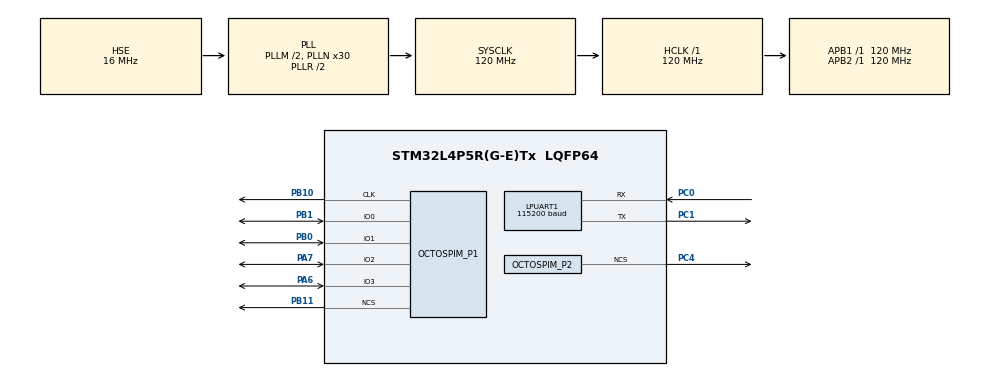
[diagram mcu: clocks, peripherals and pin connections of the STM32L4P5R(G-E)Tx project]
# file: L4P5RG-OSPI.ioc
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LPUART1.BaudRate=115200
LPUART1.WordLength=UART_WORDLENGTH_8B
Mcu.Family=STM32L4
Mcu.Name=STM32L4P5R(G-E)Tx
Mcu.Package=LQFP64
NVIC.PriorityGroup=NVIC_PRIORITYGROUP_4
OCTOSPI1.ChipSelectHighTime=2
OCTOSPI1.ClockPrescaler=2
OCTOSPI1.DeviceSize=24
OCTOSPI2.ChipSelectHighTime=2
OCTOSPI2.ClockPrescaler=2
OCTOSPI2.DeviceSize=23
PA13\ (JTMS/SWDIO).Mode=Serial_Wire
PA13\ (JTMS/SWDIO).Signal=SYS_JTMS-SWDIO
PA14\ (JTCK/SWCLK).Mode=Serial_Wire
PA14\ (JTCK/SWCLK).Signal=SYS_JTCK-SWCLK
PA6.Mode=OCTOSPI1_IOL_Port1L_30_MX
PA6.Signal=OCTOSPIM_P1_IO3
PA7.Mode=OCTOSPI1_IOL_Port1L_30_MX
PA7.Signal=OCTOSPIM_P1_IO2
PB0.Mode=OCTOSPI1_IOL_Port1L_30_MX
PB0.Signal=OCTOSPIM_P1_IO1
PB1.Mode=OCTOSPI1_IOL_Port1L_30_MX
PB1.Signal=OCTOSPIM_P1_IO0
PB10.Mode=O1_P1_CLK_MX
PB10.Signal=OCTOSPIM_P1_CLK
PB11.Mode=OCTOSPI1_Port1_NCS
PB11.Signal=OCTOSPIM_P1_NCS
PC0.Mode=Asynchronous
PC0.Signal=LPUART1_RX
PC1.Mode=Asynchronous
PC1.Signal=LPUART1_TX
PC14-OSC32_IN\ (PC14).Mode=LSE-External-Oscillator
PC14-OSC32_IN\ (PC14).Signal=RCC_OSC32_IN
PC15-OSC32_OUT\ (PC15).Mode=LSE-External-Oscillator
PC15-OSC32_OUT\ (PC15).Signal=RCC_OSC32_OUT
PC4.Mode=OCTOSPI2_Port2_NCS
PC4.Signal=OCTOSPIM_P2_NCS
PH0-OSC_IN\ (PH0).Mode=HSE-External-Oscillator
PH0-OSC_IN\ (PH0).Signal=RCC_OSC_IN
PH1-OSC_OUT\ (PH1).Mode=HSE-External-Oscillator
PH1-OSC_OUT\ (PH1).Signal=RCC_OSC_OUT
ProjectManager.HeapSize=0x200
ProjectManager.StackSize=0x400
ProjectManager.TargetToolchain=STM32CubeIDE
RCC.ADCFreq_Value=64000000
RCC.AHBFreq_Value=120000000
RCC.APB1Freq_Value=120000000
RCC.APB1TimFreq_Value=120000000
RCC.APB2Freq_Value=120000000
RCC.APB2TimFreq_Value=120000000
RCC.CortexFreq_Value=120000000
RCC.HCLKFreq_Value=120000000
RCC.HSE_VALUE=16000000
RCC.HSI48_VALUE=48000000
RCC.HSI_VALUE=16000000
RCC.MSI_VALUE=4000000
RCC.PLLM1=2
RCC.PLLN=30
RCC.PLLSourceVirtual=RCC_PLLSOURCE_HSE
RCC.SYSCLKFreq_VALUE=120000000
RCC.SYSCLKSource=RCC_SYSCLKSOURCE_PLLCLK
RCC.USBFreq_Value=64000000
RCC.VCOOutputFreq_Value=240000000
VP_OCTOSPI1_VS_quad_mx.Mode=quad_mode_mx
VP_OCTOSPI2_VS_ospi2_mx_p1_30.Mode=OCTOSPI2_IOL_Port1L_30_MX
VP_OCTOSPI2_VS_ospi2_mx_p1_clk.Mode=O2_P1_CLK_MX
VP_OCTOSPI2_VS_quad_mx.Mode=quad_mode_mx
board=custom

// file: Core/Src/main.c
/* USER CODE BEGIN Header */
/**
  ******************************************************************************
  * @file           : main.c
  * @brief          : Main program body
  ******************************************************************************
  * @attention
  *
  * Copyright (c) 2024 STMicroelectronics.
  * All rights reserved.
  *
  * This software is licensed under terms that can be found in the LICENSE file
  * in the root directory of this software component.
  * If no LICENSE file comes with this software, it is provided AS-IS.
  *
  ******************************************************************************
  */
/* USER CODE END Header */
#include "main.h"

/* USER CODE BEGIN Includes */
#include <stdio.h>
/* USER CODE END Includes */

UART_HandleTypeDef hlpuart1;

OSPI_HandleTypeDef hospi1;
OSPI_HandleTypeDef hospi2;

void SystemClock_Config(void);
static void MX_GPIO_Init(void);
static void MX_OCTOSPI1_Init(void);
static void MX_OCTOSPI2_Init(void);
static void MX_LPUART1_UART_Init(void);

int main(void)
{

  /* MCU Configuration--------------------------------------------------------*/

  /* Reset of all peripherals, Initializes the Flash interface and the Systick. */
  HAL_Init();

  /* Configure the system clock */
  SystemClock_Config();

  /* Initialize all configured peripherals */
  MX_GPIO_Init();
  MX_OCTOSPI1_Init();
  MX_OCTOSPI2_Init();
  MX_LPUART1_UART_Init();
  /* USER CODE BEGIN 2 */

  OSPI_RegularCmdTypeDef sCommand;
  HAL_StatusTypeDef ret1;
  HAL_StatusTypeDef ret2;

  /* reset w25q128 ----------------------------------------------------- */
  sCommand.OperationType = HAL_OSPI_OPTYPE_COMMON_CFG;
  sCommand.FlashId = HAL_OSPI_FLASH_ID_1;
  sCommand.Instruction = 0X66;
  sCommand.InstructionMode = HAL_OSPI_INSTRUCTION_1_LINE;
  sCommand.InstructionSize = HAL_OSPI_INSTRUCTION_8_BITS;
  sCommand.InstructionDtrMode = HAL_OSPI_INSTRUCTION_DTR_DISABLE;
  sCommand.Address = 0x00;
  sCommand.AddressMode = HAL_OSPI_ADDRESS_1_LINE;
  sCommand.AddressSize = HAL_OSPI_ADDRESS_24_BITS;
  sCommand.AlternateBytes = 0;
  sCommand.AlternateBytesMode = HAL_OSPI_ALTERNATE_BYTES_NONE;
  sCommand.AlternateBytesSize = HAL_OSPI_ALTERNATE_BYTES_8_BITS;
  sCommand.DummyCycles = 0;
  sCommand.DataMode = HAL_OSPI_DATA_NONE;
  sCommand.NbData = 0;
  sCommand.SIOOMode = HAL_OSPI_SIOO_INST_EVERY_CMD;

  ret1 = HAL_OSPI_Command(&hospi1, &sCommand, HAL_OSPI_TIMEOUT_DEFAULT_VALUE);
  if (ret1 != HAL_OK)
  {
      printf("flash send command reset enable, failed:%d\r\n", ret1);
  }

  sCommand.Instruction = 0X99;
  ret2 = HAL_OSPI_Command(&hospi1, &sCommand, HAL_OSPI_TIMEOUT_DEFAULT_VALUE);
  if (ret2 != HAL_OK)
  {
      printf("flash send command reset, failed:%d\r\n", ret2);
  }

  printf("flash reset finished, ret1:%d,ret2:%d\r\n", ret1, ret2);

  /* reset aps6404Ll ----------------------------------------------------- */
  sCommand.OperationType = HAL_OSPI_OPTYPE_COMMON_CFG;
  sCommand.FlashId = HAL_OSPI_FLASH_ID_1;
  sCommand.Instruction = 0x66;
  sCommand.InstructionMode = HAL_OSPI_INSTRUCTION_1_LINE;
  sCommand.InstructionSize = HAL_OSPI_INSTRUCTION_8_BITS;
  sCommand.InstructionDtrMode = HAL_OSPI_INSTRUCTION_DTR_DISABLE;
  sCommand.Address = 0x00;
  sCommand.AddressMode = HAL_OSPI_ADDRESS_1_LINE;
  sCommand.AddressSize = HAL_OSPI_ADDRESS_24_BITS;
  sCommand.AddressDtrMode = HAL_OSPI_ADDRESS_DTR_DISABLE;
  sCommand.AlternateBytes = 0;
  sCommand.AlternateBytesMode = HAL_OSPI_ALTERNATE_BYTES_NONE;
  sCommand.AlternateBytesSize = HAL_OSPI_ALTERNATE_BYTES_8_BITS;
  sCommand.DummyCycles = 0;
  sCommand.DataMode = HAL_OSPI_DATA_NONE;
  sCommand.NbData = 0;
  sCommand.SIOOMode = HAL_OSPI_SIOO_INST_EVERY_CMD;

  ret1 = HAL_OSPI_Command(&hospi2, &sCommand, HAL_OSPI_TIMEOUT_DEFAULT_VALUE);
  if (ret1 != HAL_OK)
  {
      printf("psram send command reset enable, failed:%d\r\n", ret1);
  }

  sCommand.Instruction = 0x99;
  ret2 = HAL_OSPI_Command(&hospi2, &sCommand, HAL_OSPI_TIMEOUT_DEFAULT_VALUE);
  if (ret2 != HAL_OK)
  {
      printf("psram send command reset, failed:%d\r\n", ret2);
  }

  printf("psram reset finished, ret1:%d,ret2:%d\r\n", ret1, ret2);

  /* USER CODE END 2 */

  /* Infinite loop */
  while (1)
  {

  }
}

void SystemClock_Config(void)
{
  RCC_OscInitTypeDef RCC_OscInitStruct = {0};
  RCC_ClkInitTypeDef RCC_ClkInitStruct = {0};

  /** Configure the main internal regulator output voltage
  */
  if (HAL_PWREx_ControlVoltageScaling(PWR_REGULATOR_VOLTAGE_SCALE1_BOOST) != HAL_OK)
  {
    Error_Handler();
  }

  /** Initializes the RCC Oscillators according to the specified parameters
  * in the RCC_OscInitTypeDef structure.
  */
  RCC_OscInitStruct.OscillatorType = RCC_OSCILLATORTYPE_HSE;
  RCC_OscInitStruct.HSEState = RCC_HSE_ON;
  RCC_OscInitStruct.PLL.PLLState = RCC_PLL_ON;
  RCC_OscInitStruct.PLL.PLLSource = RCC_PLLSOURCE_HSE;
  RCC_OscInitStruct.PLL.PLLM = 2;
  RCC_OscInitStruct.PLL.PLLN = 30;
  RCC_OscInitStruct.PLL.PLLP = RCC_PLLP_DIV2;
  RCC_OscInitStruct.PLL.PLLQ = RCC_PLLQ_DIV2;
  RCC_OscInitStruct.PLL.PLLR = RCC_PLLR_DIV2;
  if (HAL_RCC_OscConfig(&RCC_OscInitStruct) != HAL_OK)
  {
    Error_Handler();
  }

  /** Initializes the CPU, AHB and APB buses clocks
  */
  RCC_ClkInitStruct.ClockType = RCC_CLOCKTYPE_HCLK|RCC_CLOCKTYPE_SYSCLK
                              |RCC_CLOCKTYPE_PCLK1|RCC_CLOCKTYPE_PCLK2;
  RCC_ClkInitStruct.SYSCLKSource = RCC_SYSCLKSOURCE_PLLCLK;
  RCC_ClkInitStruct.AHBCLKDivider = RCC_SYSCLK_DIV1;
  RCC_ClkInitStruct.APB1CLKDivider = RCC_HCLK_DIV1;
  RCC_ClkInitStruct.APB2CLKDivider = RCC_HCLK_DIV1;

  if (HAL_RCC_ClockConfig(&RCC_ClkInitStruct, FLASH_LATENCY_5) != HAL_OK)
  {
    Error_Handler();
  }
}

static void MX_LPUART1_UART_Init(void)
{

  hlpuart1.Instance = LPUART1;
  hlpuart1.Init.BaudRate = 115200;
  hlpuart1.Init.WordLength = UART_WORDLENGTH_8B;
  hlpuart1.Init.StopBits = UART_STOPBITS_1;
  hlpuart1.Init.Parity = UART_PARITY_NONE;
  hlpuart1.Init.Mode = UART_MODE_TX_RX;
  hlpuart1.Init.HwFlowCtl = UART_HWCONTROL_NONE;
  hlpuart1.Init.OneBitSampling = UART_ONE_BIT_SAMPLE_DISABLE;
  hlpuart1.Init.ClockPrescaler = UART_PRESCALER_DIV1;
  hlpuart1.AdvancedInit.AdvFeatureInit = UART_ADVFEATURE_NO_INIT;
  hlpuart1.FifoMode = UART_FIFOMODE_DISABLE;
  if (HAL_UART_Init(&hlpuart1) != HAL_OK)
  {
    Error_Handler();
  }
  if (HAL_UARTEx_SetTxFifoThreshold(&hlpuart1, UART_TXFIFO_THRESHOLD_1_8) != HAL_OK)
  {
    Error_Handler();
  }
  if (HAL_UARTEx_SetRxFifoThreshold(&hlpuart1, UART_RXFIFO_THRESHOLD_1_8) != HAL_OK)
  {
    Error_Handler();
  }
  if (HAL_UARTEx_DisableFifoMode(&hlpuart1) != HAL_OK)
  {
    Error_Handler();
  }

}

static void MX_OCTOSPI1_Init(void)
{

  OSPIM_CfgTypeDef OSPIM_Cfg_Struct = {0};

  /* OCTOSPI1 parameter configuration*/
  hospi1.Instance = OCTOSPI1;
  hospi1.Init.FifoThreshold = 1;
  hospi1.Init.DualQuad = HAL_OSPI_DUALQUAD_DISABLE;
  hospi1.Init.MemoryType = HAL_OSPI_MEMTYPE_MICRON;
  hospi1.Init.DeviceSize = 24;
  hospi1.Init.ChipSelectHighTime = 2;
  hospi1.Init.FreeRunningClock = HAL_OSPI_FREERUNCLK_DISABLE;
  hospi1.Init.ClockMode = HAL_OSPI_CLOCK_MODE_0;
  hospi1.Init.ClockPrescaler = 2;
  hospi1.Init.SampleShifting = HAL_OSPI_SAMPLE_SHIFTING_NONE;
  hospi1.Init.DelayHoldQuarterCycle = HAL_OSPI_DHQC_DISABLE;
  hospi1.Init.ChipSelectBoundary = 0;
  hospi1.Init.DelayBlockBypass = HAL_OSPI_DELAY_BLOCK_BYPASSED;
  hospi1.Init.MaxTran = 0;
  hospi1.Init.Refresh = 0;
  if (HAL_OSPI_Init(&hospi1) != HAL_OK)
  {
    Error_Handler();
  }
  OSPIM_Cfg_Struct.ClkPort = 1;
  OSPIM_Cfg_Struct.NCSPort = 1;
  OSPIM_Cfg_Struct.IOLowPort = HAL_OSPIM_IOPORT_1_LOW;
  OSPIM_Cfg_Struct.Req2AckTime = 1;
  if (HAL_OSPIM_Config(&hospi1, &OSPIM_Cfg_Struct, HAL_OSPI_TIMEOUT_DEFAULT_VALUE) != HAL_OK)
  {
    Error_Handler();
  }

}

static void MX_OCTOSPI2_Init(void)
{

  OSPIM_CfgTypeDef OSPIM_Cfg_Struct = {0};

  /* OCTOSPI2 parameter configuration*/
  hospi2.Instance = OCTOSPI2;
  hospi2.Init.FifoThreshold = 1;
  hospi2.Init.DualQuad = HAL_OSPI_DUALQUAD_DISABLE;
  hospi2.Init.MemoryType = HAL_OSPI_MEMTYPE_MICRON;
  hospi2.Init.DeviceSize = 23;
  hospi2.Init.ChipSelectHighTime = 2;
  hospi2.Init.FreeRunningClock = HAL_OSPI_FREERUNCLK_DISABLE;
  hospi2.Init.ClockMode = HAL_OSPI_CLOCK_MODE_0;
  hospi2.Init.ClockPrescaler = 2;
  hospi2.Init.SampleShifting = HAL_OSPI_SAMPLE_SHIFTING_NONE;
  hospi2.Init.DelayHoldQuarterCycle = HAL_OSPI_DHQC_DISABLE;
  hospi2.Init.ChipSelectBoundary = 0;
  hospi2.Init.DelayBlockBypass = HAL_OSPI_DELAY_BLOCK_BYPASSED;
  hospi2.Init.MaxTran = 0;
  hospi2.Init.Refresh = 0;
  if (HAL_OSPI_Init(&hospi2) != HAL_OK)
  {
    Error_Handler();
  }
  OSPIM_Cfg_Struct.ClkPort = 1;
  OSPIM_Cfg_Struct.NCSPort = 2;
  OSPIM_Cfg_Struct.IOLowPort = HAL_OSPIM_IOPORT_1_LOW;
  OSPIM_Cfg_Struct.Req2AckTime = 1;
  if (HAL_OSPIM_Config(&hospi2, &OSPIM_Cfg_Struct, HAL_OSPI_TIMEOUT_DEFAULT_VALUE) != HAL_OK)
  {
    Error_Handler();
  }

}

static void MX_GPIO_Init(void)
{

  /* GPIO Ports Clock Enable */
  __HAL_RCC_GPIOC_CLK_ENABLE();
  __HAL_RCC_GPIOH_CLK_ENABLE();
  __HAL_RCC_GPIOA_CLK_ENABLE();
  __HAL_RCC_GPIOB_CLK_ENABLE();

}

/* USER CODE BEGIN 4 */
#ifdef __GNUC__
#define PUTCHAR_PROTOTYPE int __io_putchar(int ch)
#else
#define PUTCHAR_PROTOTYPE int fputc(int ch, FILE *f)
#endif /* __GNUC__ */

PUTCHAR_PROTOTYPE {
    HAL_UART_Transmit(&hlpuart1, (uint8_t *) &ch, 1, 0xFFFF);
    return ch;
}
/* USER CODE END 4 */

void Error_Handler(void)
{
  __disable_irq();
  while (1)
  {
  }
}
